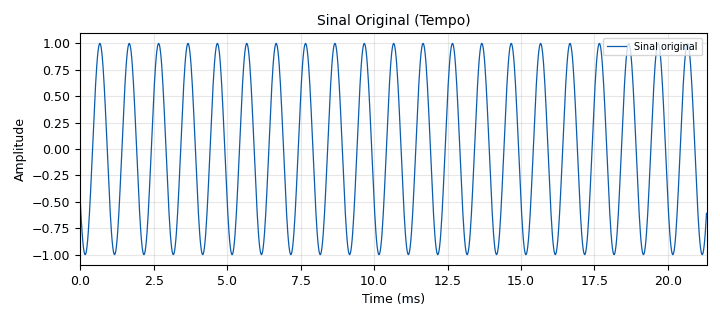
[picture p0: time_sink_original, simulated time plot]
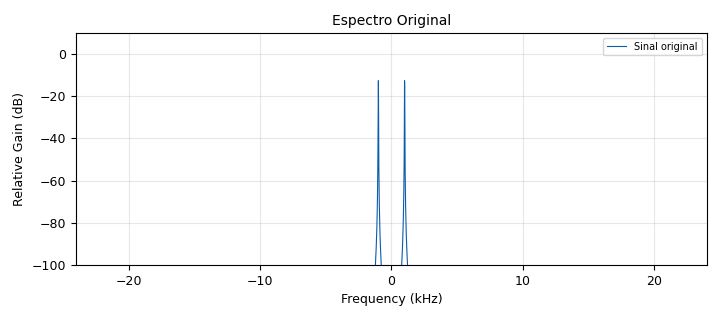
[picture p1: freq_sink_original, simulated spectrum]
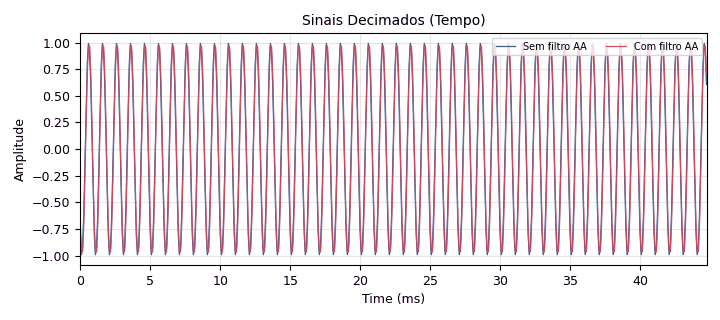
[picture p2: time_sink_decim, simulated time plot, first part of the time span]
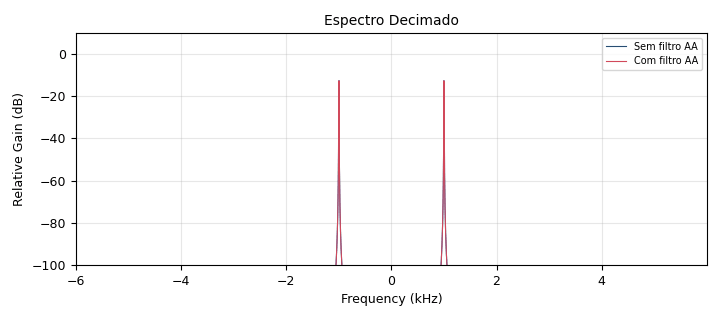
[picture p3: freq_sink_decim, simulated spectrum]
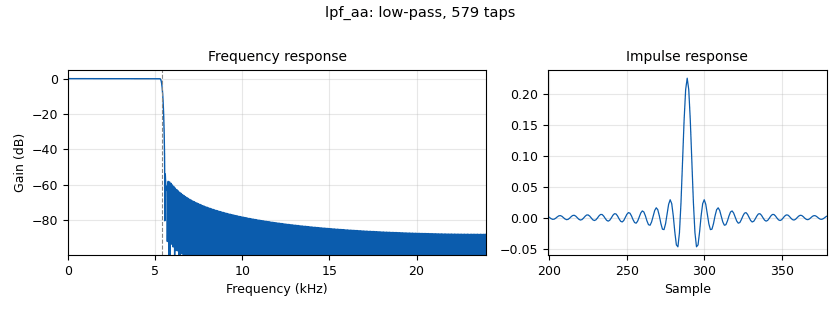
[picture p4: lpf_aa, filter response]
options:
  parameters:
    author: Prof. Daniel Costa Araújo
    description: Prática 08 - Amostragem e Aliasing
    generate_options: qt_gui
    id: pratica_08_amostragem_aliasing
    output_language: python
    title: Prática 08 - Amostragem e Aliasing
  states: {}

blocks:
- name: samp_rate
  id: variable
  parameters:
    comment: Taxa de amostragem
    value: '48000'
  states: {}
- name: fs_eff
  id: variable
  parameters:
    comment: Taxa de amostragem efetiva após decimação
    value: samp_rate/decim
  states: {}
- name: decim
  id: variable_qtgui_range
  parameters:
    comment: Fator de decimação
    gui_hint: 0,0,1,1
    label: Fator de decimação (decim)
    rangeType: int
    start: '2'
    step: '1'
    stop: '20'
    value: '4'
  states: {}
- name: f_sinal
  id: variable_qtgui_range
  parameters:
    comment: Frequência do sinal de entrada
    gui_hint: 0,1,1,1
    label: Frequência do sinal (Hz)
    start: '500'
    step: '500'
    stop: '20000'
    value: '1000'
  states: {}
- name: src_sinal
  id: analog_sig_source_x
  parameters:
    amp: '1.0'
    comment: Sinal senoidal x(t) = cos(2*pi*f_sinal*t)
    freq: f_sinal
    offset: '0'
    phase: '0'
    samp_rate: samp_rate
    type: float
    waveform: analog.GR_COS_WAVE
  states: {}
- name: throttle
  id: blocks_throttle2
  parameters:
    samples_per_second: samp_rate
    type: float
  states: {}
- name: keep_1_in_n_sem_filtro
  id: blocks_keep_one_in_n
  parameters:
    comment: Decimação sem filtro anti-aliasing
    n: decim
    type: float
  states: {}
- name: lpf_aa
  id: low_pass_filter
  parameters:
    comment: Filtro anti-aliasing antes da decimação
    cutoff_freq: fs_eff/2*0.9
    decim: '1'
    gain: '1'
    samp_rate: samp_rate
    type: fir_filter_fff
    width: '200'
    win: window.WIN_HAMMING
  states: {}
- name: keep_1_in_n_com_filtro
  id: blocks_keep_one_in_n
  parameters:
    comment: Decimação com filtro anti-aliasing
    n: decim
    type: float
  states: {}
- name: time_sink_original
  id: qtgui_time_sink_x
  parameters:
    autoscale: 'True'
    grid: 'True'
    gui_hint: 2,0,1,1
    label1: Sinal original
    name: '"Sinal Original (Tempo)"'
    size: '1024'
    srate: samp_rate
    type: float
    ymax: '1.5'
    ymin: '-1.5'
  states: {}
- name: freq_sink_original
  id: qtgui_freq_sink_x
  parameters:
    bw: samp_rate
    fc: '0'
    fftsize: '4096'
    grid: 'True'
    gui_hint: 2,1,1,1
    label1: Sinal original
    name: '"Espectro Original"'
    type: float
    wintype: window.WIN_HANN
    ymin: '-100'
  states: {}
- name: time_sink_decim
  id: qtgui_time_sink_x
  parameters:
    autoscale: 'True'
    grid: 'True'
    gui_hint: 3,0,1,1
    label1: Sem filtro AA
    label2: Com filtro AA
    name: '"Sinais Decimados (Tempo)"'
    nconnections: '2'
    size: '1024'
    srate: fs_eff
    type: float
    ymax: '1.5'
    ymin: '-1.5'
  states: {}
- name: freq_sink_decim
  id: qtgui_freq_sink_x
  parameters:
    bw: fs_eff
    fc: '0'
    fftsize: '4096'
    grid: 'True'
    gui_hint: 3,1,1,1
    label1: Sem filtro AA
    label2: Com filtro AA
    name: '"Espectro Decimado"'
    nconnections: '2'
    type: float
    wintype: window.WIN_HANN
    ymin: '-100'
  states: {}

connections:
- [src_sinal, '0', throttle, '0']
- [throttle, '0', time_sink_original, '0']
- [throttle, '0', freq_sink_original, '0']
- [throttle, '0', keep_1_in_n_sem_filtro, '0']
- [keep_1_in_n_sem_filtro, '0', time_sink_decim, '0']
- [keep_1_in_n_sem_filtro, '0', freq_sink_decim, '0']
- [throttle, '0', lpf_aa, '0']
- [lpf_aa, '0', keep_1_in_n_com_filtro, '0']
- [keep_1_in_n_com_filtro, '0', time_sink_decim, '1']
- [keep_1_in_n_com_filtro, '0', freq_sink_decim, '1']

metadata:
  file_format: 1
  grc_version: 3.10.12.0
